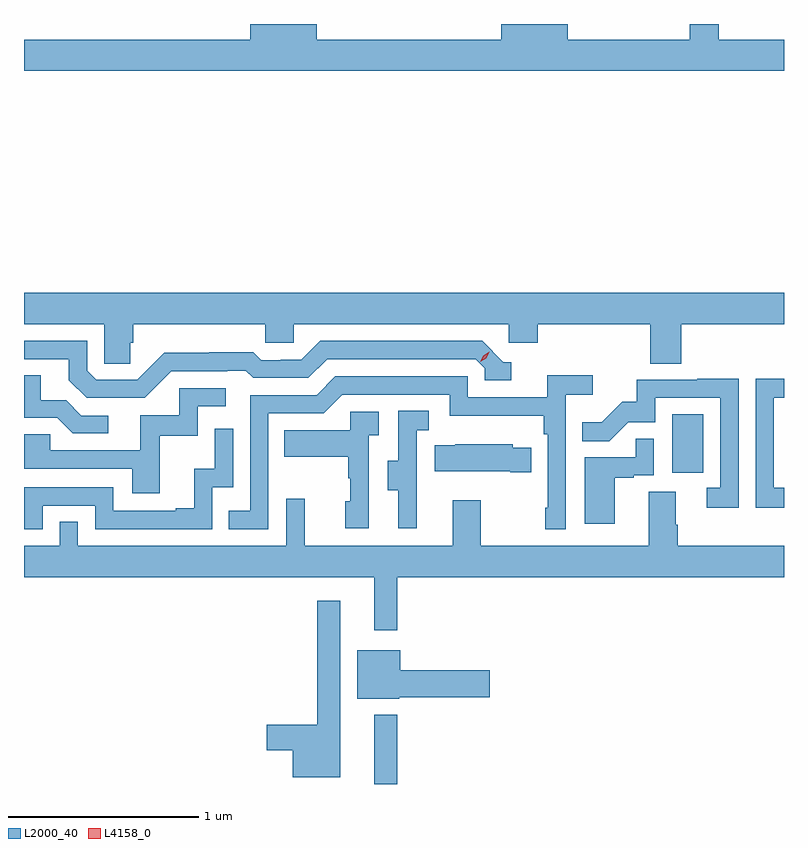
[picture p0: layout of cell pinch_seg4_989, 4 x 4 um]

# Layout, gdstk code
import gdstk
lib = gdstk.Library(unit=1e-6, precision=1e-09)
def R(c, l, rs):  # rectangles x0, y0, x1, y1
    for r in rs: c.add(gdstk.rectangle(r[:2], r[2:], *l))
def P(c, l, *ps):  # polygons
    for p in ps: c.add(gdstk.Polygon(p, *l))
L2000_40 = (2000, 40)
L4158_0 = (4158, 0)

pinch_seg4_989 = lib.new_cell('pinch_seg4_989')
R(pinch_seg4_989, L2000_40, [(792.275,775.751,792.397,776.116), (793.844,777.39,794.008,777.697)])
P(pinch_seg4_989, L2000_40, [(794.432,779.668),(794.089,779.668),(794.089,779.751),(793.937,779.751),(793.937,779.668),(793.294,779.668),(793.294,779.751),(792.944,779.751),(792.944,779.668),(791.974,779.668),(791.974,779.751),(791.624,779.751),(791.624,779.668),(790.432,779.668),(790.432,779.504),(794.432,779.504)],
  [(790.991,778.074),(791.006,778.074),(791.006,778.172),(791.703,778.172),(791.703,778.074),(791.853,778.074),(791.853,778.172),(792.984,778.172),(792.984,778.074),(793.136,778.074),(793.136,778.172),(793.727,778.172),(793.727,777.964),(793.892,777.964),(793.892,778.172),(794.432,778.172),(794.432,778.336),(790.432,778.336),(790.432,778.172),(790.854,778.172),(790.854,777.964),(790.991,777.964)],
  [(791.208,777.924),(791.501,777.924),(791.501,777.927),(791.6,777.927),(791.639,777.888),(791.928,777.888),(792.027,777.987),(792.81,777.987),(792.858,777.939),(792.858,777.876),(792.997,777.876),(792.997,777.972),(792.954,777.972),(792.843,778.083),(791.99,778.083),(791.891,777.984),(791.784,777.984),(791.784,777.981),(791.681,777.981),(791.639,778.024),(791.406,778.024),(791.406,778.021),(791.17,778.021),(791.028,777.879),(790.812,777.879),(790.764,777.927),(790.764,778.083),(790.432,778.083),(790.432,777.987),(790.667,777.987),(790.667,777.877),(790.761,777.783),(791.067,777.783)],
  [(790.876,777.69),(790.734,777.69),(790.654,777.77),(790.519,777.77),(790.519,777.902),(790.432,777.902),(790.432,777.678),(790.607,777.678),(790.688,777.597),(790.876,777.597)],
  [(791.718,777.702),(792.009,777.702),(792.108,777.801),(792.672,777.801),(792.672,777.689),(793.168,777.689),(793.168,777.593),(793.188,777.593),(793.188,777.205),(793.176,777.205),(793.176,777.093),(793.284,777.093),(793.284,777.8),(793.426,777.8),(793.426,777.902),(793.187,777.902),(793.187,777.786),(792.768,777.786),(792.768,777.897),(792.071,777.897),(791.972,777.798),(791.622,777.798),(791.622,777.189),(791.509,777.189),(791.509,777.093),(791.718,777.093)],
  [(794.193,777.884),(793.975,777.884),(793.975,777.879),(793.657,777.879),(793.657,777.762),(793.58,777.762),(793.473,777.655),(793.369,777.655),(793.369,777.556),(793.513,777.556),(793.611,777.654),(793.755,777.654),(793.755,777.783),(794.097,777.783),(794.097,777.309),(794.025,777.309),(794.025,777.204),(794.193,777.204)],
  [(794.432,777.309),(794.379,777.309),(794.379,777.783),(794.432,777.783),(794.432,777.884),(794.283,777.884),(794.283,777.204),(794.432,777.204)],
  [(791.147,777.585),(791.346,777.585),(791.346,777.738),(791.494,777.738),(791.494,777.834),(791.25,777.834),(791.25,777.693),(791.045,777.693),(791.045,777.507),(790.571,777.507),(790.571,777.591),(790.434,777.591),(790.434,777.411),(791.003,777.411),(791.003,777.282),(791.147,777.282)],
  [(792.5,777.309),(792.498,777.309),(792.498,777.613),(792.562,777.613),(792.562,777.716),(792.402,777.716),(792.402,777.453),(792.347,777.453),(792.347,777.298),(792.401,777.298),(792.401,777.096),(792.5,777.096)],
  [(792.246,777.587),(792.298,777.587),(792.298,777.711),(792.15,777.711),(792.15,777.613),(791.803,777.613),(791.803,777.473),(792.138,777.473),(792.138,777.359),(792.148,777.359),(792.148,777.24),(792.122,777.24),(792.122,777.096),(792.246,777.096)],
  [(790.53,777.216),(790.806,777.216),(790.806,777.093),(791.424,777.093),(791.424,777.312),(791.532,777.312),(791.532,777.622),(791.436,777.622),(791.436,777.41),(791.327,777.41),(791.327,777.202),(791.231,777.202),(791.231,777.189),(790.902,777.189),(790.902,777.312),(790.434,777.312),(790.434,777.189),(790.432,777.189),(790.432,777.093),(790.53,777.093)],
  [(793.54,777.363),(793.64,777.363),(793.64,777.375),(793.746,777.375),(793.746,777.569),(793.651,777.569),(793.651,777.471),(793.382,777.471),(793.382,777.12),(793.54,777.12)],
  [(793.103,777.52),(793.005,777.52),(793.005,777.538),(792.703,777.538),(792.703,777.535),(792.595,777.535),(792.595,777.398),(792.992,777.398),(792.992,777.391),(793.103,777.391)],
  [(792.397,776.84),(794.432,776.84),(794.432,777.004),(793.874,777.004),(793.874,777.116),(793.861,777.116),(793.861,777.29),(793.721,777.29),(793.721,777.004),(792.837,777.004),(792.837,777.244),(792.689,777.244),(792.689,777.004),(791.909,777.004),(791.909,777.253),(791.811,777.253),(791.811,777.004),(790.716,777.004),(790.716,777.131),(790.62,777.131),(790.62,777.004),(790.432,777.004),(790.432,776.84),(792.275,776.84),(792.275,776.559),(792.397,776.559)],
  [(792.097,776.716),(791.976,776.716),(791.976,776.063),(791.709,776.063),(791.709,775.928),(791.846,775.928),(791.846,775.787),(792.097,775.787)],
  [(792.408,776.207),(792.883,776.207),(792.883,776.349),(792.412,776.349),(792.412,776.455),(792.185,776.455),(792.185,776.201),(792.408,776.201)])
P(pinch_seg4_989, L4158_0, [(792.833,777.974),(792.833,777.974),(792.85,778.006),(792.88,778.026),(792.881,778.026),(792.881,778.025),(792.864,777.993),(792.834,777.974)])

lib.write_gds('pinch_seg4_989.gds')
